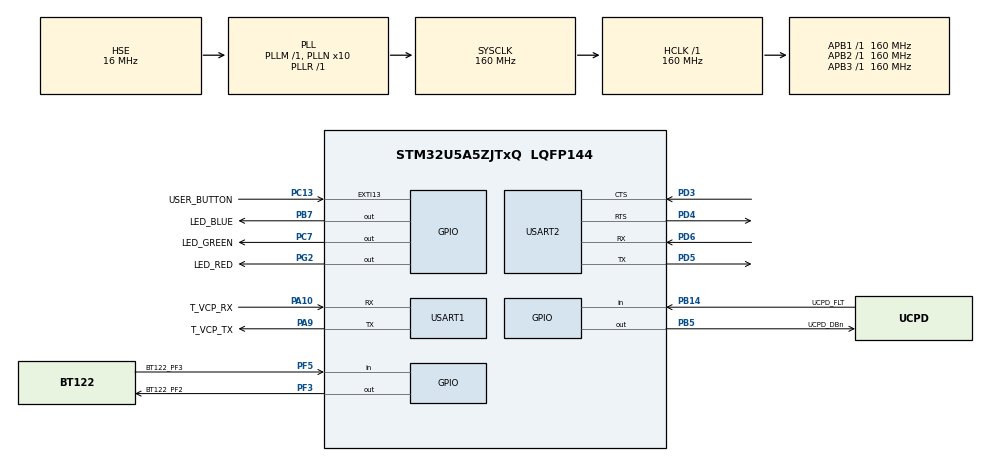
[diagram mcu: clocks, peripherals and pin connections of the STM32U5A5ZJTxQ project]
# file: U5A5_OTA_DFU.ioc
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CORTEX_M33_NS.userName=CORTEX_M33
HASH.SecureHashAlgorithmType=SHA256
HASH.pKey=__NULL
Mcu.Family=STM32U5
Mcu.Name=STM32U5A5ZJTxQ
Mcu.Package=LQFP144
NVIC.PriorityGroup=NVIC_PRIORITYGROUP_4
NVIC.USART1_IRQn=true\:0\:0\:false\:false\:true\:true\:true\:true
NVIC.USART2_IRQn=true\:0\:0\:false\:false\:true\:true\:true\:true
PA10.GPIO_Label=T_VCP_RX
PA10.Mode=Asynchronous
PA10.Signal=USART1_RX
PA11.Signal=USB_OTG_HS_DM
PA12.Signal=USB_OTG_HS_DP
PA13\ (JTMS/SWDIO).Mode=Trace_Asynchronous_SW
PA13\ (JTMS/SWDIO).Signal=DEBUG_JTMS-SWDIO
PA14\ (JTCK/SWCLK).Mode=Trace_Asynchronous_SW
PA14\ (JTCK/SWCLK).Signal=DEBUG_JTCK-SWCLK
PA15\ (JTDI).Signal=DEBUG_JTDI
PA9.GPIO_Label=T_VCP_TX
PA9.Mode=Asynchronous
PA9.Signal=USART1_TX
PB14.GPIO_Label=UCPD_FLT
PB14.Signal=GPIO_Input
PB15.Signal=UCPD1_CC2
PB3\ (JTDO/TRACESWO).Mode=Trace_Asynchronous_SW
PB3\ (JTDO/TRACESWO).Signal=DEBUG_JTDO-SWO
PB5.GPIO_Label=UCPD_DBn
PB5.Signal=GPIO_Output
PB7.GPIO_Label=LED_BLUE
PB7.Signal=GPIO_Output
PC13.GPIO_Label=USER_BUTTON
PC13.Signal=GPXTI13
PC14-OSC32_IN\ (PC14).Mode=LSE-External-Oscillator
PC14-OSC32_IN\ (PC14).Signal=RCC_OSC32_IN
PC15-OSC32_OUT\ (PC15).Mode=LSE-External-Oscillator
PC15-OSC32_OUT\ (PC15).Signal=RCC_OSC32_OUT
PC2.GPIO_Label=VBUS_SENSE
PC2.Signal=ADC1_IN3
PC7.GPIO_Label=LED_GREEN
PC7.Signal=GPIO_Output
PD3.Mode=CTS_RTS
PD3.Signal=USART2_CTS
PD4.Mode=CTS_RTS
PD4.Signal=USART2_RTS
PD5.Mode=Asynchronous
PD5.Signal=USART2_TX
PD6.Mode=Asynchronous
PD6.Signal=USART2_RX
PF3.GPIO_Label=BT122_PF2
PF3.PinState=GPIO_PIN_SET
PF3.Signal=GPIO_Output
PF5.GPIO_Label=BT122_PF3
PF5.Signal=GPIO_Input
PG2.GPIO_Label=LED_RED
PG2.Signal=GPIO_Output
PH0-OSC_IN\ (PH0).Mode=HSE-External-Oscillator
PH0-OSC_IN\ (PH0).Signal=RCC_OSC_IN
PH1-OSC_OUT\ (PH1).Mode=HSE-External-Oscillator
PH1-OSC_OUT\ (PH1).Signal=RCC_OSC_OUT
PWR.PowerMode=PWR_SMPS_SUPPLY
ProjectManager.HeapSize=0x200
ProjectManager.StackSize=0x400
ProjectManager.TargetToolchain=STM32CubeIDE
RCC.ADCFreq_Value=16000000
RCC.AHBFreq_Value=160000000
RCC.APB1Freq_Value=160000000
RCC.APB1TimFreq_Value=160000000
RCC.APB2Freq_Value=160000000
RCC.APB2TimFreq_Value=160000000
RCC.APB3Freq_Value=160000000
RCC.CortexFreq_Value=160000000
RCC.DACCLockSelectionVirtual=RCC_DAC1CLKSOURCE_LSI
RCC.EPOD_VALUE=16000000
RCC.HCLKFreq_Value=160000000
RCC.HSE_VALUE=16000000
RCC.HSI48_VALUE=48000000
RCC.HSI_VALUE=16000000
RCC.LSIDIV_VALUE=32000
RCC.MSI_VALUE=4000000
RCC.PLL1P=8
RCC.PLL1R=1
RCC.PLL2FRACN=0
RCC.PLL3FRACN=0
RCC.PLLFRACN=0
RCC.PLLN=10
RCC.PLLSourceVirtual=RCC_PLLSOURCE_HSE
RCC.SYSCLKFreq_VALUE=160000000
RCC.SYSCLKSource=RCC_SYSCLKSOURCE_PLLCLK
RCC.VCOOutputFreq_Value=160000000
USART1.VirtualMode-Asynchronous=VM_ASYNC
USART2.VirtualMode-Asynchronous=VM_ASYNC
VP_HASH_VS_HASH.Mode=HASH_Activate
VP_ICACHE_VS_ICACHE.Mode=DirectMappedCache
VP_PWR_VS_DBSignals.Mode=DisableDeadBatterySignals
VP_PWR_VS_LPOM.Mode=PowerOptimisation
VP_PWR_VS_SECSignals.Mode=Security/Privilege
board=NUCLEO-U5A5ZJ-Q

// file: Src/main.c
/* USER CODE BEGIN Header */
/**
 ******************************************************************************
 * @file           main.c
 * @brief          Main program body
 ******************************************************************************
 * @attention
 *
 * Copyright (c) 2023 STMicroelectronics.
 * All rights reserved.
 *
 * This software is licensed under terms that can be found in the LICENSE file
 * in the root directory of this software component.
 * If no LICENSE file comes with this software, it is provided AS-IS.
 *
 ******************************************************************************
 */
/* USER CODE END Header */
#include "main.h"

/* USER CODE BEGIN Includes */
#include <stdio.h>
#include <stdlib.h>
#include <string.h>
#include <errno.h>

#include "uart.h"
#include "ota.h"
#include "flash.h"
#include "util.h"
#include "bgapi.h"

// BGLIB setup is done in bgapi.c
//#include "dumo_bglib.h"

/* USER CODE END Includes */

/* USER CODE BEGIN PD */

/* The starting address for storing user data in the flash memory. */
#define FLASH_USER_START_ADDR 0x08100000

/* USER CODE END PD */

HASH_HandleTypeDef hhash;

UART_HandleTypeDef huart1;
UART_HandleTypeDef huart2;

/* USER CODE BEGIN PV */

// UART Interrupt Buffers
uint8_t huart1RxInterruptBuffer[1];
uint8_t huart2RxInterruptBuffer[1];

/* USER CODE END PV */

void SystemClock_Config(void);
static void SystemPower_Config(void);
static void MX_GPIO_Init(void);
static void MX_HASH_Init(void);
static void MX_ICACHE_Init(void);
static void MX_USART1_UART_Init(void);
static void MX_USART2_UART_Init(void);

/* USER CODE BEGIN 0 */

// Setup UART for printf
#ifdef __GNUC__
#define PUTCHAR_PROTOTYPE int __io_putchar(int ch)
#else
#define PUTCHAR_PROTOTYPE int fputc(int ch, FILE *f)
#endif

PUTCHAR_PROTOTYPE {
	HAL_UART_Transmit(&huart1, (uint8_t*) &ch, 1, HAL_MAX_DELAY);
	return ch;
}

/** UART Callback **/
void HAL_UART_RxCpltCallback(UART_HandleTypeDef *huart) {
	// check which UART it is
	if (huart == &huart1) {
		uart_rx_it_put(1, 1, (char *) huart1RxInterruptBuffer);
		HAL_UART_Receive_IT(&huart1, huart1RxInterruptBuffer, 1);
	}
	else if (huart == &huart2) {
		uart_rx_it_put(2, 1, (char *) huart2RxInterruptBuffer);
		HAL_UART_Receive_IT(&huart2, huart2RxInterruptBuffer, 1);
	}
}

/* USER CODE END 0 */

int main(void) {

	/* MCU Configuration--------------------------------------------------------*/

	/* Reset of all peripherals, Initializes the Flash interface and the Systick. */
	HAL_Init();

	/* Configure the system clock */
	SystemClock_Config();

	/* Configure the System Power */
	SystemPower_Config();

	/* Initialize all configured peripherals */
	MX_GPIO_Init();
	MX_HASH_Init();
	MX_ICACHE_Init();
	MX_USART1_UART_Init();
	MX_USART2_UART_Init();
	/* USER CODE BEGIN 2 */

	// Setup UART 2 interrupt
	register_UART(1, &huart1);
	register_UART(2, &huart2);
	HAL_UART_Receive_IT(&huart1, huart1RxInterruptBuffer, 1);
	HAL_UART_Receive_IT(&huart2, huart2RxInterruptBuffer, 1);

	// Initialize BGIB with UART handle that will be used to communicate with BT122
	initializeBGLIB(&huart2);

	printf("\n\nStarted on u5a5 - firmware 1.0\n\n");

	/* TESTING */

//	testUARTInterruptBuffer_Test2(&huart1);

	// flash tests
//	flashTest_1();
//	flashTest_2();
//	flashTest_3();
//	flashTest_4();
//	flashTest_5();
//	while (1) {
//	}

//	testBGAPI_Test1();
//	testBGAPI_Test2();
//	testBGAPI_Test3();
//
//	while (1) {
//		// end of testing
//	}

	/* END TESTING */

	/* Debug info */

	uint32_t x = FLASH_SIZE;
	uint32_t y = FLASH_BANK_SIZE;
	printf("Flash size: %ld. Flash bank size: %ld\n", x, y);

	// determine which firmware version is loaded onto each bank
	// 0x0800 bank:
	__IO uint32_t version0800 = (*(__IO uint32_t*) 0x0800b254);
	// 0x0820 bank:
	__IO uint32_t version0820 = (*(__IO uint32_t*) 0x0820b254);
	printf("0x0800 bank: 0x%08lx, 0x0820 bank: 0x%08lx\n", version0800, version0820);

	printf("\n");

	/* END Debug info */

	/* OTA */

	BT122FirmwareUpgrade(FLASH_USER_START_ADDR, &huart2, &hhash);

	//if (U5FirmwareUpgrade(&huart2, &hhash) == HAL_ERROR) {
	//	printf("U5 firmware upgrade failed.\n");
	//}

	/* END OTA */

	/* USER CODE END 2 */

	/* Infinite loop */
	while (1) {

	}
}

void SystemClock_Config(void) {
	RCC_OscInitTypeDef RCC_OscInitStruct = { 0 };
	RCC_ClkInitTypeDef RCC_ClkInitStruct = { 0 };

	/** Configure the main internal regulator output voltage
	 */
	if (HAL_PWREx_ControlVoltageScaling(PWR_REGULATOR_VOLTAGE_SCALE1) != HAL_OK) {
		Error_Handler();
	}

	/** Initializes the CPU, AHB and APB buses clocks
	 */
	RCC_OscInitStruct.OscillatorType = RCC_OSCILLATORTYPE_HSE;
	RCC_OscInitStruct.HSEState = RCC_HSE_ON;
	RCC_OscInitStruct.PLL.PLLState = RCC_PLL_ON;
	RCC_OscInitStruct.PLL.PLLSource = RCC_PLLSOURCE_HSE;
	RCC_OscInitStruct.PLL.PLLMBOOST = RCC_PLLMBOOST_DIV1;
	RCC_OscInitStruct.PLL.PLLM = 1;
	RCC_OscInitStruct.PLL.PLLN = 10;
	RCC_OscInitStruct.PLL.PLLP = 8;
	RCC_OscInitStruct.PLL.PLLQ = 2;
	RCC_OscInitStruct.PLL.PLLR = 1;
	RCC_OscInitStruct.PLL.PLLRGE = RCC_PLLVCIRANGE_1;
	RCC_OscInitStruct.PLL.PLLFRACN = 0;
	if (HAL_RCC_OscConfig(&RCC_OscInitStruct) != HAL_OK) {
		Error_Handler();
	}

	/** Initializes the CPU, AHB and APB buses clocks
	 */
	RCC_ClkInitStruct.ClockType = RCC_CLOCKTYPE_HCLK | RCC_CLOCKTYPE_SYSCLK | RCC_CLOCKTYPE_PCLK1
			| RCC_CLOCKTYPE_PCLK2 | RCC_CLOCKTYPE_PCLK3;
	RCC_ClkInitStruct.SYSCLKSource = RCC_SYSCLKSOURCE_PLLCLK;
	RCC_ClkInitStruct.AHBCLKDivider = RCC_SYSCLK_DIV1;
	RCC_ClkInitStruct.APB1CLKDivider = RCC_HCLK_DIV1;
	RCC_ClkInitStruct.APB2CLKDivider = RCC_HCLK_DIV1;
	RCC_ClkInitStruct.APB3CLKDivider = RCC_HCLK_DIV1;

	if (HAL_RCC_ClockConfig(&RCC_ClkInitStruct, FLASH_LATENCY_4) != HAL_OK) {
		Error_Handler();
	}
}

/**
 * @brief Power Configuration
 * @retval None
 */
static void SystemPower_Config(void) {
	HAL_PWREx_EnableVddIO2();

	/*
	 * Disable the internal Pull-Up in Dead Battery pins of UCPD peripheral
	 */
	HAL_PWREx_DisableUCPDDeadBattery();

	/*
	 * Switch to SMPS regulator instead of LDO
	 */
	if (HAL_PWREx_ConfigSupply(PWR_SMPS_SUPPLY) != HAL_OK) {
		Error_Handler();
	}
}

static void MX_HASH_Init(void) {

	hhash.Init.DataType = HASH_DATATYPE_32B;
	if (HAL_HASH_Init(&hhash) != HAL_OK) {
		Error_Handler();
	}

}

static void MX_ICACHE_Init(void) {

	/** Enable instruction cache in 1-way (direct mapped cache)
	 */
	if (HAL_ICACHE_ConfigAssociativityMode(ICACHE_1WAY) != HAL_OK) {
		Error_Handler();
	}
	if (HAL_ICACHE_Enable() != HAL_OK) {
		Error_Handler();
	}

}

static void MX_USART1_UART_Init(void) {

	huart1.Instance = USART1;
	huart1.Init.BaudRate = 115200;
	huart1.Init.WordLength = UART_WORDLENGTH_8B;
	huart1.Init.StopBits = UART_STOPBITS_1;
	huart1.Init.Parity = UART_PARITY_NONE;
	huart1.Init.Mode = UART_MODE_TX_RX;
	huart1.Init.HwFlowCtl = UART_HWCONTROL_NONE;
	huart1.Init.OverSampling = UART_OVERSAMPLING_16;
	huart1.Init.OneBitSampling = UART_ONE_BIT_SAMPLE_DISABLE;
	huart1.Init.ClockPrescaler = UART_PRESCALER_DIV1;
	huart1.AdvancedInit.AdvFeatureInit = UART_ADVFEATURE_NO_INIT;
	if (HAL_UART_Init(&huart1) != HAL_OK) {
		Error_Handler();
	}
	if (HAL_UARTEx_SetTxFifoThreshold(&huart1, UART_TXFIFO_THRESHOLD_1_8) != HAL_OK) {
		Error_Handler();
	}
	if (HAL_UARTEx_SetRxFifoThreshold(&huart1, UART_RXFIFO_THRESHOLD_1_8) != HAL_OK) {
		Error_Handler();
	}
	if (HAL_UARTEx_DisableFifoMode(&huart1) != HAL_OK) {
		Error_Handler();
	}

}

static void MX_USART2_UART_Init(void) {

	huart2.Instance = USART2;
	huart2.Init.BaudRate = 115200;
	huart2.Init.WordLength = UART_WORDLENGTH_8B;
	huart2.Init.StopBits = UART_STOPBITS_1;
	huart2.Init.Parity = UART_PARITY_NONE;
	huart2.Init.Mode = UART_MODE_TX_RX;
	huart2.Init.HwFlowCtl = UART_HWCONTROL_RTS_CTS;
	huart2.Init.OverSampling = UART_OVERSAMPLING_16;
	huart2.Init.OneBitSampling = UART_ONE_BIT_SAMPLE_DISABLE;
	huart2.Init.ClockPrescaler = UART_PRESCALER_DIV1;
	huart2.AdvancedInit.AdvFeatureInit = UART_ADVFEATURE_NO_INIT;
	if (HAL_UART_Init(&huart2) != HAL_OK) {
		Error_Handler();
	}
	if (HAL_UARTEx_SetTxFifoThreshold(&huart2, UART_TXFIFO_THRESHOLD_1_8) != HAL_OK) {
		Error_Handler();
	}
	if (HAL_UARTEx_SetRxFifoThreshold(&huart2, UART_RXFIFO_THRESHOLD_1_8) != HAL_OK) {
		Error_Handler();
	}
	if (HAL_UARTEx_DisableFifoMode(&huart2) != HAL_OK) {
		Error_Handler();
	}

}

static void MX_GPIO_Init(void) {
	GPIO_InitTypeDef GPIO_InitStruct = { 0 };

	/* GPIO Ports Clock Enable */
	__HAL_RCC_GPIOC_CLK_ENABLE();
	__HAL_RCC_GPIOF_CLK_ENABLE();
	__HAL_RCC_GPIOH_CLK_ENABLE();
	__HAL_RCC_GPIOB_CLK_ENABLE();
	__HAL_RCC_GPIOG_CLK_ENABLE();
	__HAL_RCC_GPIOA_CLK_ENABLE();
	__HAL_RCC_GPIOD_CLK_ENABLE();

	/*Configure GPIO pin Output Level */
	HAL_GPIO_WritePin(BT122_PF2_GPIO_Port, BT122_PF2_Pin, GPIO_PIN_SET);

	/*Configure GPIO pin Output Level */
	HAL_GPIO_WritePin(LED_RED_GPIO_Port, LED_RED_Pin, GPIO_PIN_RESET);

	/*Configure GPIO pin Output Level */
	HAL_GPIO_WritePin(LED_GREEN_GPIO_Port, LED_GREEN_Pin, GPIO_PIN_RESET);

	/*Configure GPIO pin Output Level */
	HAL_GPIO_WritePin(GPIOB, UCPD_DBn_Pin | LED_BLUE_Pin, GPIO_PIN_RESET);

	/*Configure GPIO pin : USER_BUTTON_Pin */
	GPIO_InitStruct.Pin = USER_BUTTON_Pin;
	GPIO_InitStruct.Mode = GPIO_MODE_IT_RISING;
	GPIO_InitStruct.Pull = GPIO_NOPULL;
	HAL_GPIO_Init(USER_BUTTON_GPIO_Port, &GPIO_InitStruct);

	/*Configure GPIO pin : BT122_PF2_Pin */
	GPIO_InitStruct.Pin = BT122_PF2_Pin;
	GPIO_InitStruct.Mode = GPIO_MODE_OUTPUT_PP;
	GPIO_InitStruct.Pull = GPIO_NOPULL;
	GPIO_InitStruct.Speed = GPIO_SPEED_FREQ_LOW;
	HAL_GPIO_Init(BT122_PF2_GPIO_Port, &GPIO_InitStruct);

	/*Configure GPIO pin : BT122_PF3_Pin */
	GPIO_InitStruct.Pin = BT122_PF3_Pin;
	GPIO_InitStruct.Mode = GPIO_MODE_INPUT;
	GPIO_InitStruct.Pull = GPIO_NOPULL;
	HAL_GPIO_Init(BT122_PF3_GPIO_Port, &GPIO_InitStruct);

	/*Configure GPIO pin : VBUS_SENSE_Pin */
	GPIO_InitStruct.Pin = VBUS_SENSE_Pin;
	GPIO_InitStruct.Mode = GPIO_MODE_ANALOG;
	GPIO_InitStruct.Pull = GPIO_NOPULL;
	HAL_GPIO_Init(VBUS_SENSE_GPIO_Port, &GPIO_InitStruct);

	/*Configure GPIO pin : UCPD_FLT_Pin */
	GPIO_InitStruct.Pin = UCPD_FLT_Pin;
	GPIO_InitStruct.Mode = GPIO_MODE_INPUT;
	GPIO_InitStruct.Pull = GPIO_NOPULL;
	HAL_GPIO_Init(UCPD_FLT_GPIO_Port, &GPIO_InitStruct);

	/*Configure GPIO pin : PB15 */
	GPIO_InitStruct.Pin = GPIO_PIN_15;
	GPIO_InitStruct.Mode = GPIO_MODE_ANALOG;
	GPIO_InitStruct.Pull = GPIO_NOPULL;
	HAL_GPIO_Init(GPIOB, &GPIO_InitStruct);

	/*Configure GPIO pin : LED_RED_Pin */
	GPIO_InitStruct.Pin = LED_RED_Pin;
	GPIO_InitStruct.Mode = GPIO_MODE_OUTPUT_PP;
	GPIO_InitStruct.Pull = GPIO_NOPULL;
	GPIO_InitStruct.Speed = GPIO_SPEED_FREQ_LOW;
	HAL_GPIO_Init(LED_RED_GPIO_Port, &GPIO_InitStruct);

	/*Configure GPIO pin : LED_GREEN_Pin */
	GPIO_InitStruct.Pin = LED_GREEN_Pin;
	GPIO_InitStruct.Mode = GPIO_MODE_OUTPUT_PP;
	GPIO_InitStruct.Pull = GPIO_NOPULL;
	GPIO_InitStruct.Speed = GPIO_SPEED_FREQ_LOW;
	HAL_GPIO_Init(LED_GREEN_GPIO_Port, &GPIO_InitStruct);

	/*Configure GPIO pins : PA11 PA12 */
	GPIO_InitStruct.Pin = GPIO_PIN_11 | GPIO_PIN_12;
	GPIO_InitStruct.Mode = GPIO_MODE_AF_PP;
	GPIO_InitStruct.Pull = GPIO_NOPULL;
	GPIO_InitStruct.Speed = GPIO_SPEED_FREQ_LOW;
	HAL_GPIO_Init(GPIOA, &GPIO_InitStruct);

	/*Configure GPIO pins : UCPD_DBn_Pin LED_BLUE_Pin */
	GPIO_InitStruct.Pin = UCPD_DBn_Pin | LED_BLUE_Pin;
	GPIO_InitStruct.Mode = GPIO_MODE_OUTPUT_PP;
	GPIO_InitStruct.Pull = GPIO_NOPULL;
	GPIO_InitStruct.Speed = GPIO_SPEED_FREQ_LOW;
	HAL_GPIO_Init(GPIOB, &GPIO_InitStruct);

}

void Error_Handler(void) {
	__disable_irq();
	while (1) {
	}
}
